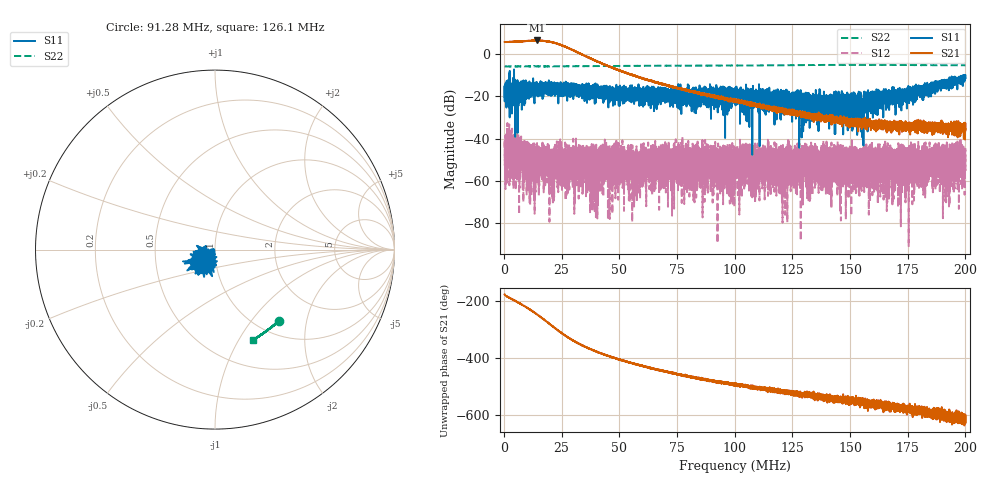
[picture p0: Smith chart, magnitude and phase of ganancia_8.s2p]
# Hz S DB R 50
! CMT, M5065, 19127446, 24.2.4/2
! Date: 11/8/2024 3:49:11 PM
! Data: Format (Calibration Info)
! Freq	S11:dB/Ang(F2)	S21:dB/Ang(F2)	S12:dB/Ang(F2)	S22:dB/Ang(F2)
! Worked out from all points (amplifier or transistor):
!   9000 points, 300 kHz to 200 MHz, reference 50 ohm
!   highest |S21| = 6.4 dB at 14.21 MHz (marker M1)
!   |S21| within 3 dB of that: start of sweep to 26.63 MHz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
!   unconditionally stable (mu >= 1): start of sweep to end of sweep
!   at 33.59 MHz: K = 137.04, MAG = 1.4 dB, |S12| = -51.6 dB
!   at 100.2 MHz: K = 1067.62, MAG = -20.6 dB, |S12| = -47.5 dB
!   at 200 MHz: K = 3269.99, MAG = -33.7 dB, |S12| = -44.4 dB
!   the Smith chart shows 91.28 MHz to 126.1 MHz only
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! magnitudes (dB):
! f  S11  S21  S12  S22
! 300 kHz  -20.3  5.7  -40.9  -5.8
! 3.629 MHz  -16.1  5.8  -58.4  -5.8
! 14.21 MHz  -13.2  6.4  -46.3  -5.8
! 33.59 MHz  -16.2  -0.1  -51.6  -5.7
! 41.13 MHz  -18.8  -3.8  -52.7  -5.7
! 44.24 MHz  -18.6  -5.3  -52.1  -5.7
! 46.79 MHz  -20.1  -6.4  -46.6  -5.7
! 54.54 MHz  -20.4  -9.5  -51.7  -5.6
! 57.38 MHz  -21.2  -10.6  -49.5  -5.6
! 66.87 MHz  -19.3  -13.8  -48.6  -5.5
! 94.08 MHz  -19.5  -20.9  -45.9  -5.4
! 100.2 MHz  -19.0  -22.1  -47.5  -5.4
! 133.4 MHz  -23.8  -28.8  -50.7  -5.2
! 153.4 MHz  -25.7  -32.5  -51.6  -5.1
! 154.8 MHz  -24.5  -32.6  -48.6  -5.1
! 158.6 MHz  -24.4  -30.6  -49.0  -5.1
! 166.7 MHz  -23.4  -33.9  -49.8  -5.2
! 184.6 MHz  -19.4  -35.8  -48.8  -5.3
! 193.1 MHz  -13.3  -35.6  -58.3  -5.3
! 196.9 MHz  -12.8  -31.7  -50.2  -5.3
! 199 MHz  -10.0  -33.0  -52.7  -5.3
! 200 MHz  -11.5  -35.6  -44.4  -5.3
